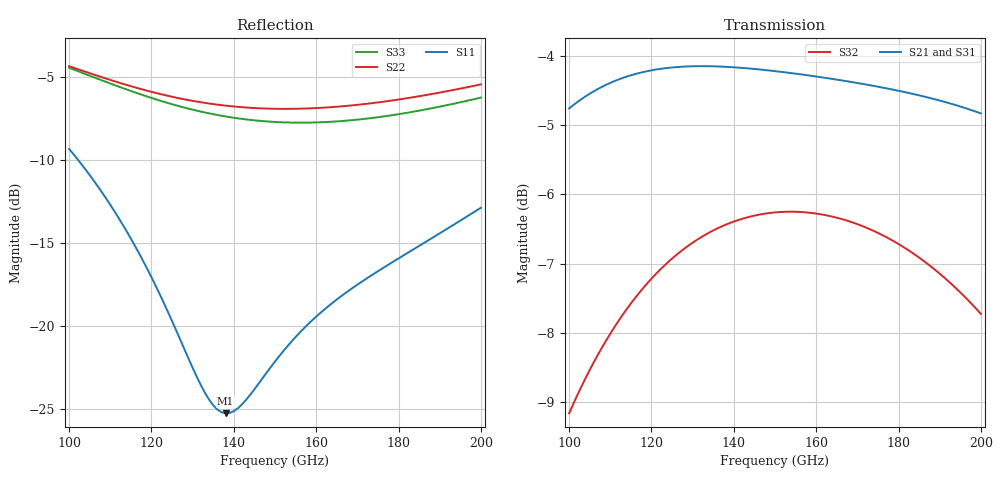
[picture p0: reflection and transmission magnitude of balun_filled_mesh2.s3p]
! Created with skrf 2.1.0 (http://scikit-rf.org).
# GHz S DB R 50.0
! Port[1] = P1
! Port[2] = P2
! Port[3] = P3
!freq dBS11 angS11 dBS12 angS12 dBS13 angS13
! dBS21 angS21 dBS22 angS22 dBS23 angS23
! dBS31 angS31 dBS32 angS32 dBS33 angS33
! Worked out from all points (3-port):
!   101 points, 100 GHz to 200 GHz, reference 50 ohm
!   strongest paths, dB at 100 GHz, 125 GHz, 150 GHz, 175 GHz, 200 GHz:
!     S21: -4.8, -4.2, -4.2, -4.4, -4.8
!     S31: -5.0, -4.3, -4.3, -4.4, -4.6
!     S32: -9.2, -6.9, -6.3, -6.6, -7.7
!   lowest |S11| = -25.3 dB at 138 GHz (marker M1), VSWR 1.12, Z = 44.9 + j1.09 ohm
!   |S11| at or under -10 dB: 102.2 GHz to end of sweep
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100  -9.33 132.4  -4.76 -11.6  -4.99 165.0
     -4.76 -11.6  -4.34 60.4  -9.17 91.7
     -4.99 165.0  -9.17 91.7  -4.43 49.8
108  -11.96 123.9  -4.44 -24.2  -4.64 151.7
     -4.44 -24.2  -5.01 52.8  -8.21 79.3
     -4.64 151.7  -8.21 79.3  -5.20 41.0
117  -15.64 118.9  -4.24 -37.5  -4.40 137.5
     -4.24 -37.5  -5.69 45.2  -7.43 65.9
     -4.40 137.5  -7.43 65.9  -6.01 32.1
133  -24.05 142.9  -4.15 -59.3  -4.25 114.2
     -4.15 -59.3  -6.55 33.1  -6.59 43.8
     -4.25 114.2  -6.59 43.8  -7.13 18.6
138  -25.29 167.1  -4.15 -65.6  -4.24 107.4
     -4.15 -65.6  -6.72 29.5  -6.44 37.3
     -4.24 107.4  -6.44 37.3  -7.37 14.7
142  -24.74 -174.5  -4.17 -70.6  -4.24 102.1
     -4.17 -70.6  -6.81 26.7  -6.35 32.2
     -4.24 102.1  -6.35 32.2  -7.52 11.7
150  -22.16 -154.0  -4.22 -80.3  -4.26 91.7
     -4.22 -80.3  -6.91 20.9  -6.26 22.3
     -4.26 91.7  -6.26 22.3  -7.70 5.8
160  -19.45 -145.3  -4.29 -92.0  -4.30 79.2
     -4.29 -92.0  -6.87 13.4  -6.28 10.2
     -4.30 79.2  -6.28 10.2  -7.73 -1.7
174  -16.87 -141.7  -4.43 -108.1  -4.38 62.1
     -4.43 -108.1  -6.56 2.2  -6.53 -6.2
     -4.38 62.1  -6.53 -6.2  -7.45 -12.6
200  -12.88 -142.5  -4.83 -138.4  -4.61 30.0
     -4.83 -138.4  -5.44 -21.0  -7.73 -36.4
     -4.61 30.0  -7.73 -36.4  -6.24 -35.2
